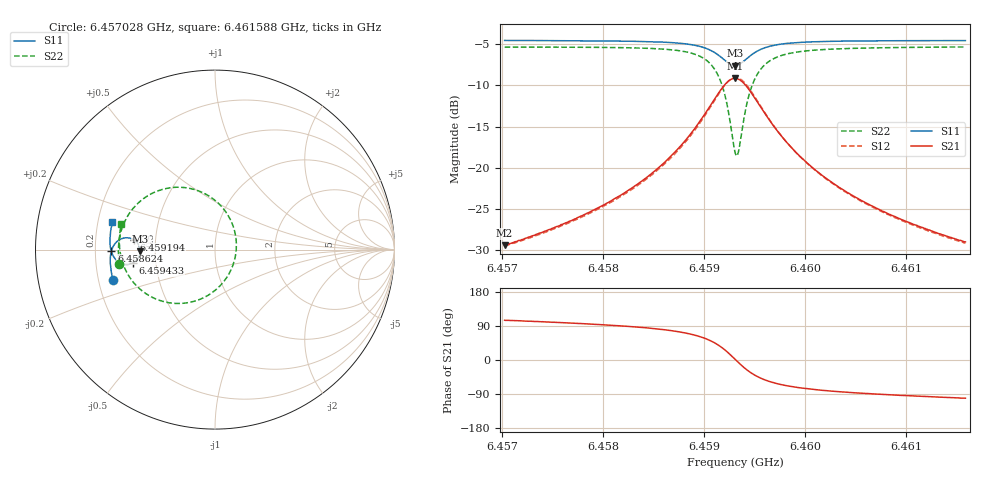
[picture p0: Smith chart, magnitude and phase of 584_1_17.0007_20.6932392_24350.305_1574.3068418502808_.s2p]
#  HZ  S  RI  R  50.00
! Rohde & Schwarz Vector Network Analyzer
! Rohde-Schwarz,ZNB20-2Port,1311601062101988,3.16
! Created: UTC 3/20/2024, 11:18:14 PM
! freq[Hz]  re:S11  im:S11  re:S21  im:S21  re:S12  im:S12  re:S22  im:S22
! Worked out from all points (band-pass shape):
!   401 points, 6.457028 GHz to 6.461588 GHz, reference 50 ohm
!   highest |S21| = -9.15 dB at 6.459308 GHz (marker M1); lowest = -29.4 dB at 6.457028 GHz (marker M2)
!   |S21| within 3 dB of the highest: 6.45908 GHz to 6.459536 GHz (456.2 kHz wide, 0.00706 % of centre)
!   lowest |S11| = -7.6 dB at 6.459308 GHz (marker M3), VSWR 2.43, Z = 20.6 - j0.42 ohm
!   |S11| at or under -10 dB: nowhere
!   |S22| runs from -18.5 to -5.3 dB; largest |S21 - S12| = 0.014
!   S11 on the Smith chart (normalised r, x): 6.457028 GHz: 0.26, -0.14; 6.458624 GHz: 0.27, -0.01; 6.459194 GHz: 0.37, +0.05; 6.459433 GHz: 0.37, -0.07; 6.461588 GHz: 0.26, +0.12
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6.4570282e9  -0.5678 -0.1683  -0.00875 0.0328  -0.00705 0.0328  -0.5338 -0.0801
6.457792e9  -0.5813 -0.1012  -0.0053 0.0509  -0.00279 0.0503  -0.5384 0.0101
6.4582023e9  -0.5838 -0.0601  0.000514 0.0698  0.00376 0.0685  -0.5301 0.0755
6.4585557e9  -0.5797 -0.0177  0.0149 0.0996  0.019 0.0968  -0.5034 0.1554
6.458624e9  -0.5775 -0.00816  0.0204 0.1081  0.0244 0.1047  -0.4932 0.1754
6.4588178e9  -0.5647 0.0223  0.0472 0.1391  0.0514 0.1342  -0.4427 0.2449
6.458966e9  -0.5417 0.0485  0.0932 0.1697  0.0963 0.1629  -0.358 0.3095
6.4591028e9  -0.4976 0.0659  0.181 0.186  0.182 0.1786  -0.1968 0.3474
6.459194e9  -0.4526 0.0553  0.2717 0.154  0.2719 0.1482  -0.0289 0.2957
6.4592624e9  -0.4233 0.0228  0.3325 0.0814  0.3346 0.076  0.0872 0.1643
6.459308e9  -0.4165 -0.00843  0.3486 0.0128  0.3524 0.00585  0.119 0.0358
6.4593194e9  -0.417 -0.0166  0.3485 -0.00511  0.3524 -0.0128  0.1185 0.00178
6.4593422e9  -0.4205 -0.0324  0.3426 -0.0402  0.3467 -0.0494  0.1071 -0.0648
6.4593878e9  -0.4363 -0.0587  0.3137 -0.1004  0.3158 -0.1126  0.0483 -0.1789
6.4594333e9  -0.4587 -0.0752  0.2709 -0.1417  0.2703 -0.1552  -0.038 -0.2543
6.4595245e9  -0.5023 -0.082  0.1853 -0.173  0.1791 -0.1846  -0.2091 -0.3002
6.4596727e9  -0.5465 -0.0614  0.0966 -0.1586  0.088 -0.1649  -0.3785 -0.2496
6.4598323e9  -0.5681 -0.0337  0.0514 -0.1301  0.0436 -0.133  -0.4593 -0.1764
6.4600717e9  -0.5809 0.0018  0.0221 -0.0982  0.0163 -0.0987  -0.5074 -0.0931
6.4604136e9  -0.5855 0.0428  0.00607 -0.071  0.00196 -0.0706  -0.5288 -0.0136
6.4608354e9  -0.5835 0.0854  -0.0016 -0.0522  -0.00451 -0.0515  -0.5329 0.0548
6.4615877e9  -0.5712 0.1521  -0.00668 -0.035  -0.00834 -0.0339  -0.5213 0.1444
